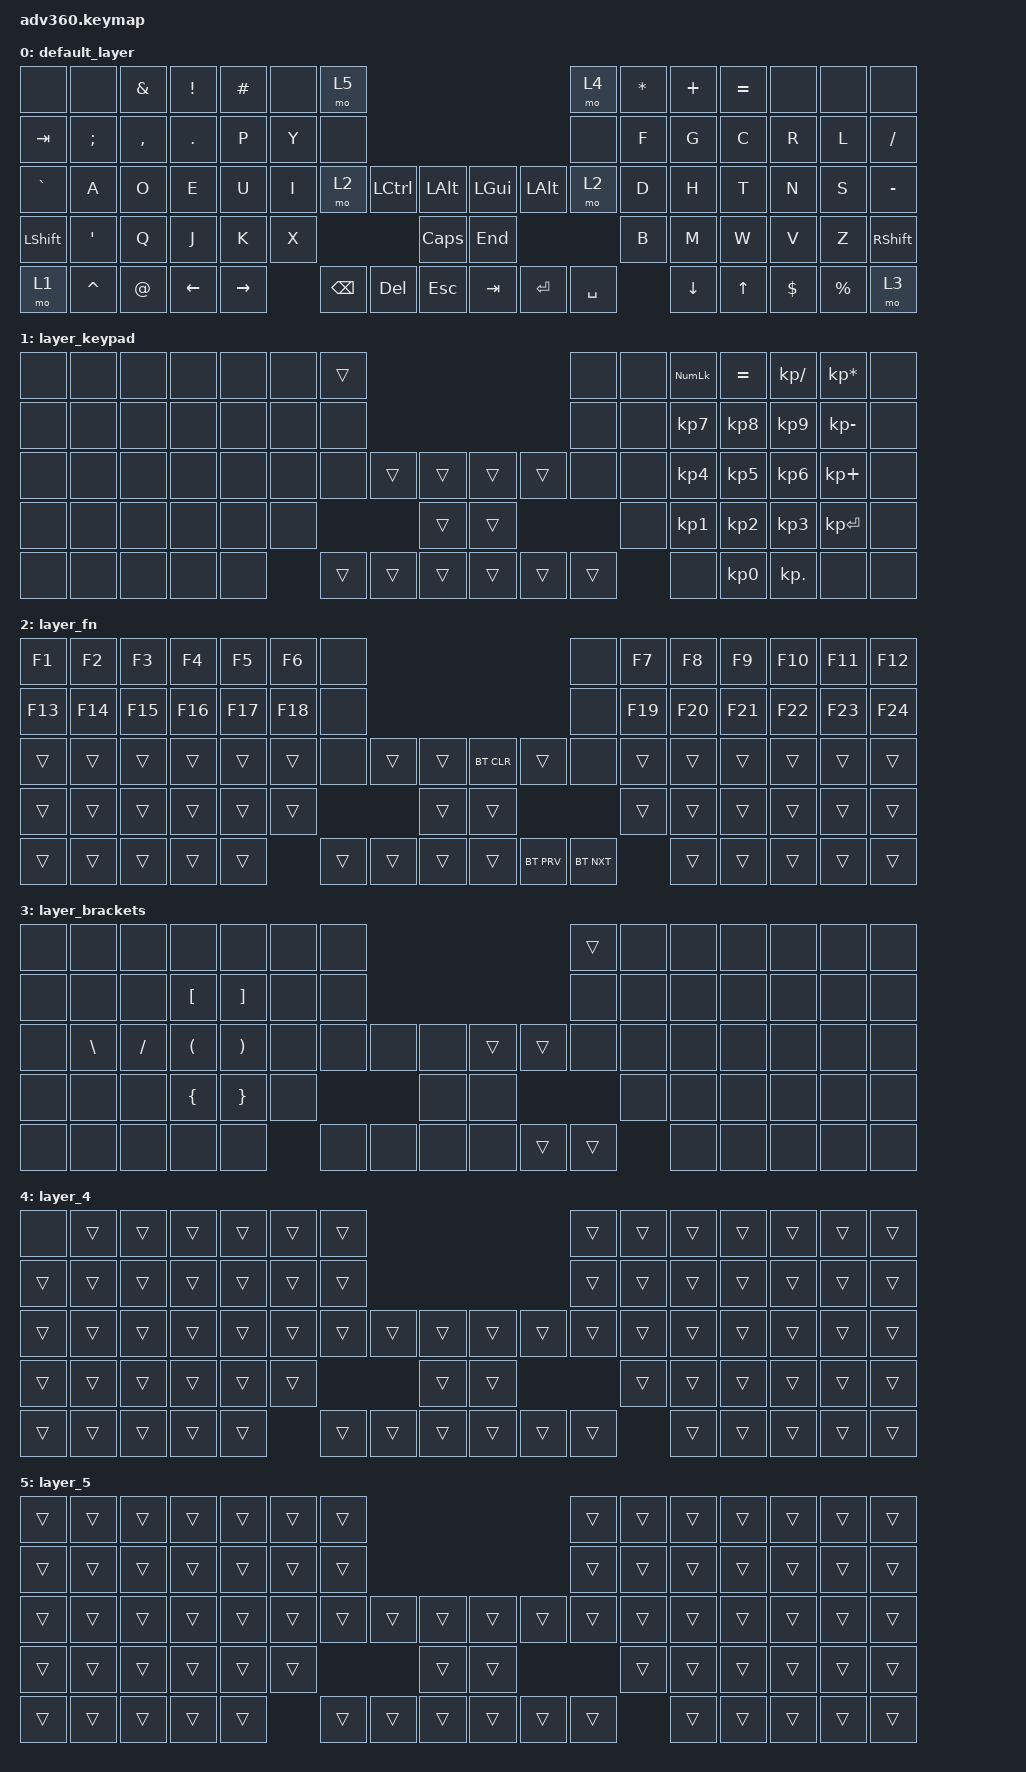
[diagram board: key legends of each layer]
#include <dt-bindings/zmk/stp.h>
#include <behaviors.dtsi>
#include <dt-bindings/zmk/bt.h>
#include <dt-bindings/zmk/keys.h>

/ {
    behaviors {
        #include "macros.dtsi"
        #include "version.dtsi"

        hm: homerow_mods {
            compatible = "zmk,behavior-hold-tap";
            label = "HOMEROW_MODS";
            #binding-cells = <2>;
            tapping-term-ms = <200>;
            quick_tap_ms = <175>;
            flavor = "tap-preferred";
            bindings = <&kp>, <&kp>;
        };
    };

    keymap {
        compatible = "zmk,keymap";

        default_layer {
            bindings = <
&none      &none             &kp AMPS   &kp EXCL  &kp HASH   &none  &mo 5                                                                      &mo 4      &kp ASTRK  &kp PLUS        &kp EQUAL     &none       &none        &none
&kp TAB    &kp SEMI          &kp COMMA  &kp DOT   &kp P      &kp Y  &none                                                                      &none      &kp F      &kp G           &kp C         &kp R       &kp L        &kp SLASH
&kp GRAVE  &kp A             &kp O      &kp E     &kp U      &kp I  &mo 2          &kp LEFT_CONTROL  &kp LEFT_ALT      &kp LGUI  &kp LEFT_ALT  &mo 2      &kp D      &kp H           &kp T         &kp N       &kp S        &kp MINUS
&kp LSHFT  &kp SINGLE_QUOTE  &kp Q      &kp J     &kp K      &kp X                                   &kp CAPS          &kp END                            &kp B      &kp M           &kp W         &kp V       &kp Z        &kp RSHFT
&mo 1      &kp CARET         &kp AT     &kp LEFT  &kp RIGHT         &kp BACKSPACE  &kp DELETE        &kp ESCAPE        &kp TAB   &kp ENTER     &kp SPACE             &kp DOWN_ARROW  &kp UP_ARROW  &kp DOLLAR  &kp PERCENT  &mo 3
            >;
        };

        layer_keypad {
            bindings = <
&none  &none  &none  &none  &none  &none  &trans                                      &none   &none  &kp KP_NUM  &kp EQUAL        &kp KP_DIVIDE  &kp KP_MULTIPLY  &none
&none  &none  &none  &none  &none  &none  &none                                       &none   &none  &kp KP_N7   &kp KP_N8        &kp KP_N9      &kp KP_MINUS     &none
&none  &none  &none  &none  &none  &none  &none   &trans  &trans      &trans  &trans  &none   &none  &kp KP_N4   &kp KP_N5        &kp KP_N6      &kp KP_PLUS      &none
&none  &none  &none  &none  &none  &none                  &trans      &trans                  &none  &kp KP_N1   &kp KP_N2        &kp KP_N3      &kp KP_ENTER     &none
&none  &none  &none  &none  &none         &trans  &trans  &trans      &trans  &trans  &trans         &none       &kp KP_NUMBER_0  &kp KP_DOT     &none            &none
            >;
        };

        layer_fn {
            bindings = <
&kp F1   &kp F2   &kp F3   &kp F4   &kp F5   &kp F6   &none                                               &none       &kp F7   &kp F8   &kp F9   &kp F10  &kp F11  &kp F12
&kp F13  &kp F14  &kp F15  &kp F16  &kp F17  &kp F18  &none                                               &none       &kp F19  &kp F20  &kp F21  &kp F22  &kp F23  &kp F24
&trans   &trans   &trans   &trans   &trans   &trans   &none   &trans  &trans      &bt BT_CLR  &trans      &none       &trans   &trans   &trans   &trans   &trans   &trans
&trans   &trans   &trans   &trans   &trans   &trans                   &trans      &trans                              &trans   &trans   &trans   &trans   &trans   &trans
&trans   &trans   &trans   &trans   &trans            &trans  &trans  &trans      &trans      &bt BT_PRV  &bt BT_NXT           &trans   &trans   &trans   &trans   &trans
            >;
        };

        layer_brackets {
            bindings = <
&none  &none          &none      &none                 &none                  &none  &none                                    &trans  &none  &none  &none  &none  &none  &none
&none  &none          &none      &kp LEFT_BRACKET      &kp RIGHT_BRACKET      &none  &none                                    &none   &none  &none  &none  &none  &none  &none
&none  &kp BACKSLASH  &kp SLASH  &kp LEFT_PARENTHESIS  &kp RIGHT_PARENTHESIS  &none  &none  &none  &none      &trans  &trans  &none   &none  &none  &none  &none  &none  &none
&none  &none          &none      &kp LEFT_BRACE        &kp RIGHT_BRACE        &none                &none      &none                   &none  &none  &none  &none  &none  &none
&none  &none          &none      &none                 &none                         &none  &none  &none      &none   &trans  &trans         &none  &none  &none  &none  &none
            >;
        };

        layer_4 {
            bindings = <
&none   &trans  &trans  &trans  &trans  &trans  &trans                                      &trans  &trans  &trans  &trans  &trans  &trans  &trans
&trans  &trans  &trans  &trans  &trans  &trans  &trans                                      &trans  &trans  &trans  &trans  &trans  &trans  &trans
&trans  &trans  &trans  &trans  &trans  &trans  &trans  &trans  &trans      &trans  &trans  &trans  &trans  &trans  &trans  &trans  &trans  &trans
&trans  &trans  &trans  &trans  &trans  &trans                  &trans      &trans                  &trans  &trans  &trans  &trans  &trans  &trans
&trans  &trans  &trans  &trans  &trans          &trans  &trans  &trans      &trans  &trans  &trans          &trans  &trans  &trans  &trans  &trans
            >;
        };

        layer_5 {
            bindings = <
&trans  &trans  &trans  &trans  &trans  &trans  &trans                                      &trans  &trans  &trans  &trans  &trans  &trans  &trans
&trans  &trans  &trans  &trans  &trans  &trans  &trans                                      &trans  &trans  &trans  &trans  &trans  &trans  &trans
&trans  &trans  &trans  &trans  &trans  &trans  &trans  &trans  &trans      &trans  &trans  &trans  &trans  &trans  &trans  &trans  &trans  &trans
&trans  &trans  &trans  &trans  &trans  &trans                  &trans      &trans                  &trans  &trans  &trans  &trans  &trans  &trans
&trans  &trans  &trans  &trans  &trans          &trans  &trans  &trans      &trans  &trans  &trans          &trans  &trans  &trans  &trans  &trans
            >;
        };

        extra1 {
            display-name = "Red";
            status = "reserved";
        };

        extra2 {
            display-name = "Purple";
            status = "reserved";
        };

        extra3 {
            display-name = "Cyan";
            status = "reserved";
        };

        extra4 {
            display-name = "Yellow";
            status = "reserved";
        };
    };
};
